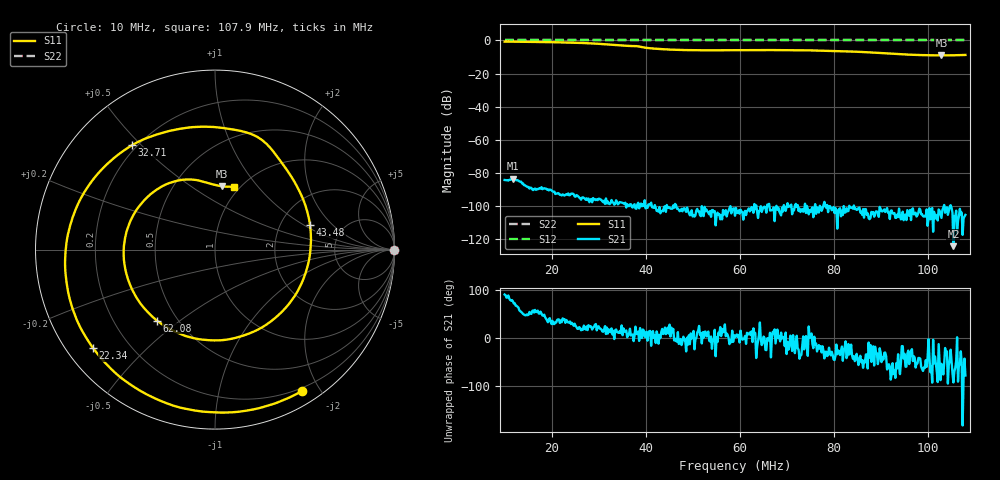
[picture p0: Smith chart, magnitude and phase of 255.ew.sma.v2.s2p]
! Anritsu VNA Master:  Model: MS2036C/10/77
! SN:  1601066
! /card0/usr/255.ew.sma.v2.s2p
! Existing Calibration Information:
! TYPE:  Current Settings,  Active Cal Settings
! TIME:  12/17/2017 06:22:10 PM,  12/17/2017 06:11:23 PM
! INTERNAL TEMP:  43.8 C,  43.8 C
! # POINTS:  501,  501
! START FREQ:  10.000 MHz,  10.000 MHz
! STOP FREQ:  107.903 125 MHz,  107.903 125 MHz
! SOURCE POWER:  High,  High
! IFBW:  100 Hz,  100 Hz
! AVG FACTOR:  1 ,  1
! REF PLANE 1:  0 mm,  0 mm
! REF PLANE 2:  0 mm,  0 mm
! CAL TYPE:  Full S11,  Full S11
! CAL METHOD:  SOLT,  SOLT
! CAL LINE TYPE:  Coax,  Coax
! DUT PORT 1:  K-Conn(F),  K-Conn(F)
! DUT PORT 2:  K-Conn(F),  K-Conn(F)
! CAL STATUS:  OK: Accuracy High,  --
# GHZ S DB R 50.0
! FREQ.GHZ  S11DB  S11A  S21DB  S21A  S12DB  S12A  S22DB  S22A
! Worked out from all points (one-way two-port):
!   501 points, 10 MHz to 107.9 MHz, reference 50 ohm
!   highest |S21| = -83.30 dB at 11.76 MHz (marker M1); lowest = -124.1 dB at 105.4 MHz (marker M2)
!   lowest |S11| = -9.0 dB at 102.8 MHz (marker M3), VSWR 2.10, Z = 41.8 + j33.7 ohm
!   |S11| at or under -10 dB: nowhere
!   |S22| runs from 0.0 to 0.0 dB; largest |S21 - S12| = 1
!   S11 on the Smith chart (normalised r, x): 10 MHz: 0.17, -1.78; 22.34 MHz: 0.08, -0.35; 32.71 MHz: 0.18, +0.47; 43.48 MHz: 2.93, +1.13; 62.08 MHz: 0.39, -0.41; 107.9 MHz: 0.94, +0.76
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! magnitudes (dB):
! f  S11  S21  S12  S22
! 10 MHz  -0.7  -84.2  0.0  0.0
! 11.76 MHz  -0.7  -83.3  0.0  0.0
! 22.34 MHz  -1.2  -92.9  0.0  0.0
! 26.45 MHz  -1.5  -94.8  0.0  0.0
! 32.71 MHz  -2.6  -96.3  0.0  0.0
! 35.26 MHz  -3.1  -98.3  0.0  0.0
! 38 MHz  -3.4  -101.5  0.0  0.0
! 40.15 MHz  -4.5  -100.1  0.0  0.0
! 42.7 MHz  -5.1  -103.3  0.0  0.0
! 43.48 MHz  -5.2  -102.8  0.0  0.0
! 46.42 MHz  -5.7  -99.3  0.0  0.0
! 49.94 MHz  -5.9  -106.2  0.0  0.0
! 59.15 MHz  -5.9  -101.1  0.0  0.0
! 62.08 MHz  -5.8  -103.1  0.0  0.0
! 68.94 MHz  -5.8  -100.9  0.0  0.0
! 75.4 MHz  -6.0  -100.7  0.0  0.0
! 84.41 MHz  -6.8  -101.7  0.0  0.0
! 91.65 MHz  -7.9  -103.8  0.0  0.0
! 97.33 MHz  -8.7  -103.9  0.0  0.0
! 102.8 MHz  -9.0  -107.1  0.0  0.0
! 105.4 MHz  -8.9  -124.1  0.0  0.0
! 107.9 MHz  -8.7  -105.3  0.0  0.0
